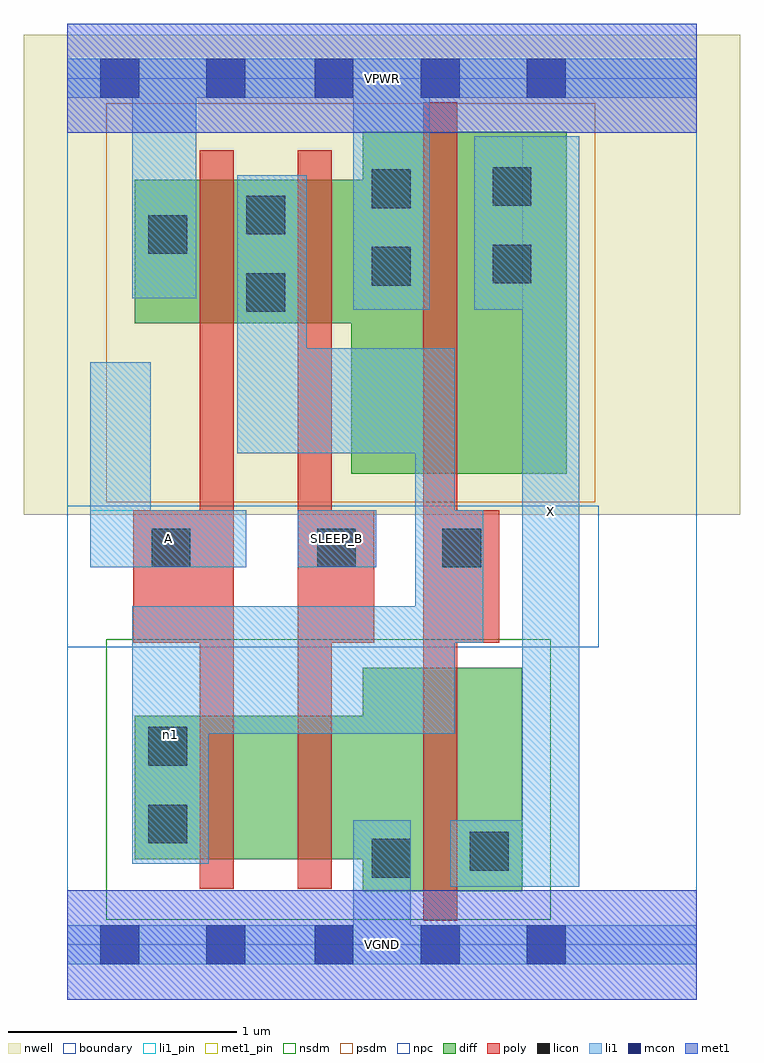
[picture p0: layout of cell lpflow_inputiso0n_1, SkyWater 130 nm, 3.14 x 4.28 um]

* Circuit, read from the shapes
.subckt lpflow_inputiso0n_1 A SLEEP_B VGND VPWR X n1
XM1 n2 A n1 VSUBS sky130_fd_pr__nfet_01v8 w=0.63 l=0.15
XM2 VGND SLEEP_B n2 VSUBS sky130_fd_pr__nfet_01v8 w=0.63 l=0.15
XM3 X n1 VGND VSUBS sky130_fd_pr__nfet_01v8 w=0.98 l=0.15
XM4 n1 A VPWR n3 sky130_fd_pr__pfet_01v8 w=0.63 l=0.15
XM5 VPWR SLEEP_B n1 n3 sky130_fd_pr__pfet_01v8 w=0.63 l=0.15
XM6 X n1 VPWR n3 sky130_fd_pr__pfet_01v8 w=1.5 l=0.15
.ends

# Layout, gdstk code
import gdstk
lib = gdstk.Library(unit=1e-6, precision=1e-09)
def R(c, l, rs):  # rectangles x0, y0, x1, y1
    for r in rs: c.add(gdstk.rectangle(r[:2], r[2:], *l))
def A(c, l, x, y, w, h, nx, ny, dx, dy):  # array of equal rectangles
    R(c, l, [(x+i*dx, y+j*dy, x+i*dx+w, y+j*dy+h) for i in range(nx) for j in range(ny)])
nwell = (64, 20)
diff = (65, 20)
poly = (66, 20)
licon = (66, 44)
li1_pin = (67, 16)
li1 = (67, 20)
mcon = (67, 44)
met1_pin = (68, 16)
met1 = (68, 20)
nsdm = (93, 44)
psdm = (94, 20)
npc = (95, 20)
boundary = (235, 4)

lpflow_inputiso0n_1 = lib.new_cell('lpflow_inputiso0n_1')
R(lpflow_inputiso0n_1, nwell, [(-0.19,1.885,2.95,3.99), (0,1.885,2.76,3.99)])
R(lpflow_inputiso0n_1, diff, [(1.295,0.235,1.995,1.215), (0.295,0.375,1.995,1.005), (1.245,2.065,2.19,3.355), (1.295,2.065,2.19,3.565), (0.295,2.725,2.19,3.355)])
R(lpflow_inputiso0n_1, poly, [(1.56,0.105,1.71,3.695), (0.58,0.245,0.73,3.485), (1.01,0.245,1.16,3.485), (0.29,1.325,0.73,1.905), (1.01,1.325,1.345,1.905), (1.56,1.325,1.895,1.905)])
R(lpflow_inputiso0n_1, licon, [(1.335,0.295,1.505,0.465), (1.765,0.325,1.935,0.495), (0.355,0.445,0.525,0.615), (0.355,0.785,0.525,0.955), (0.37,1.655,0.54,1.825), (1.095,1.655,1.265,1.825), (1.645,1.655,1.815,1.825), (0.785,2.775,0.955,2.945), (1.335,2.89,1.505,3.06), (1.865,2.9,2.035,3.07), (0.355,3.03,0.525,3.2), (0.785,3.115,0.955,3.285), (1.335,3.23,1.505,3.4), (1.865,3.24,2.035,3.41)])
R(lpflow_inputiso0n_1, li1_pin, [(1.995,0.255,2.245,3.545), (0.1,1.655,0.785,1.905), (1.01,1.655,1.355,1.905)])
R(lpflow_inputiso0n_1, li1, [(0,-0.085,2.76,0.085), (1.255,-0.085,1.505,0.545), (1.68,0.255,2.245,0.545), (1.995,0.255,2.245,3.545), (0.285,0.355,0.62,1.485), (0.285,0.925,1.7,1.485), (1.525,0.925,1.7,2.615), (1.525,1.325,1.825,1.905), (0.1,1.655,0.785,1.905), (0.1,1.655,0.365,2.555), (1.01,1.655,1.355,1.905), (0.745,2.155,1.05,3.375), (0.745,2.155,1.7,2.615), (1.255,2.785,1.59,3.885), (1.785,2.785,2.245,3.545), (0.285,2.835,0.565,3.885), (0,3.715,2.76,3.885)])
A(lpflow_inputiso0n_1, mcon, 1.085, -0.085, 0.17, 0.17, 3, 2, 0.465, 3.8)
R(lpflow_inputiso0n_1, mcon, [(0.145,-0.085,0.315,0.085), (0.61,-0.085,0.78,0.085), (0.145,3.715,0.315,3.885), (0.61,3.715,0.78,3.885)])
R(lpflow_inputiso0n_1, met1_pin, [(0,-0.24,2.76,0.24), (0,3.56,2.76,4.04)])
R(lpflow_inputiso0n_1, met1, [(0,-0.24,2.76,0.24), (0,3.56,2.76,4.04)])
R(lpflow_inputiso0n_1, nsdm, [(0.17,0.11,2.12,1.34)])
R(lpflow_inputiso0n_1, psdm, [(0.17,1.94,2.315,3.69)])
R(lpflow_inputiso0n_1, npc, [(0,1.305,2.33,1.925)])
R(lpflow_inputiso0n_1, boundary, [(0,0,2.76,3.8)])
lpflow_inputiso0n_1.add(gdstk.Label('A', (0.442,1.78), layer=67, texttype=5))
lpflow_inputiso0n_1.add(gdstk.Label('SLEEP_B', (1.182,1.78), layer=67, texttype=5))
lpflow_inputiso0n_1.add(gdstk.Label('X', (2.12,1.9), layer=67, texttype=5))
lpflow_inputiso0n_1.add(gdstk.Label('n1', (0.452,0.92), layer=67, texttype=5))
lpflow_inputiso0n_1.add(gdstk.Label('VPWR', (1.38,3.8), layer=68, texttype=5))
lpflow_inputiso0n_1.add(gdstk.Label('VGND', (1.38,0), layer=68, texttype=5))
lpflow_inputiso0n_1.add(gdstk.Label('A', (0.442,1.78), layer=67, texttype=16))
lpflow_inputiso0n_1.add(gdstk.Label('SLEEP_B', (1.182,1.78), layer=67, texttype=16))
lpflow_inputiso0n_1.add(gdstk.Label('X', (2.12,1.9), layer=67, texttype=16))
lpflow_inputiso0n_1.add(gdstk.Label('VPWR', (1.38,3.8), layer=68, texttype=16))
lpflow_inputiso0n_1.add(gdstk.Label('VGND', (1.38,0), layer=68, texttype=16))

lib.write_gds('lpflow_inputiso0n_1.gds')
